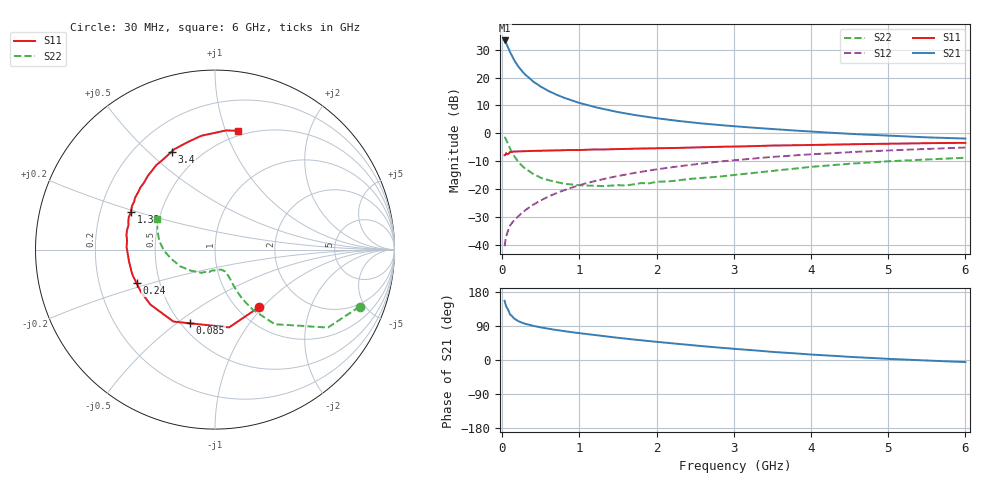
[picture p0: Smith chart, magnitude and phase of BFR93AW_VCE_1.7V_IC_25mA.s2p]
! Infineon Technologies  Discrete & RF Semiconductors
! BFR93AW
! VCE =  1.7 V,  IC =  25 mA
! Common Emitter S-Parameters:  Nov 2015
# GHz  S  MA  R  50
!  f  S11  S21  S12  S22
! GHz  MAG  ANG  MAG  ANG  MAG  ANG  MAG  ANG
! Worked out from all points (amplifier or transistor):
!   206 points, 30 MHz to 6 GHz, reference 50 ohm
!   highest |S21| = 33.4 dB at 30 MHz (marker M1)
!   |S21| within 3 dB of that: start of sweep to 81.87 MHz
!   unconditionally stable (mu >= 1): 460.2 MHz to 2.407 GHz
!   at 200 MHz: K = 0.79, MSG = 27.1 dB, |S12| = -30.0 dB
!   at 1.56 GHz: K = 1.05, MAG = 9.8 dB, |S12| = -15.0 dB
!   at 6 GHz: K = 0.95, MSG = 1.6 dB, |S12| = -5.1 dB
!   S11 on the Smith chart (normalised r, x): 30 MHz: 1.25, -0.95; 85 MHz: 0.55, -0.56; 240 MHz: 0.37, -0.18; 1.32 GHz: 0.33, +0.19; 3.4 GHz: 0.35, +0.59; 6 GHz: 0.46, +1.11
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0.03  0.4037 -52.4  46.59 156.1  0.0094 73.3  0.8667 -21.5
0.05  0.4406 -79.7  41.7 141.1  0.0142 67.7  0.7648 -34.6
0.085  0.4334 -108.6  32.21 128.3  0.0196 60.3  0.5964 -44.9
0.1  0.463 -120.0  28.86 120.5  0.022 58.2  0.5329 -51.3
0.15  0.4727 -139.6  20.98 109.8  0.027 59.4  0.3956 -57.8
0.2  0.4753 -150.4  16.37 103.3  0.0316 60.8  0.3167 -60.9
0.24  0.4757 -156.8  13.92 99.8  0.0355 62.9  0.274 -62.0
0.26  0.4773 -159.5  12.89 98.1  0.0376 63.7  0.2569 -62.4
0.3  0.4813 -163.7  11.23 95.2  0.0418 65.3  0.2309 -62.6
0.4  0.4834 -171.9  8.506 90.0  0.0521 67.4  0.186 -62.5
0.5  0.4868 -177.7  6.867 85.8  0.0624 68.8  0.1587 -63.3
0.6  0.4927 178.3  5.751 82.3  0.0733 69.7  0.1438 -63.8
0.7  0.4925 174.1  4.962 79.1  0.0842 70.3  0.1338 -65.3
0.88  0.5015 168.1  3.984 74.0  0.1039 70.2  0.1215 -69.9
1.04  0.504 163.2  3.394 69.7  0.1217 69.5  0.1162 -75.1
1.32  0.513 156.1  2.716 62.8  0.1518 67.8  0.1132 -84.3
2.02  0.5406 140.1  1.851 47.4  0.2273 62.0  0.1348 -110.9
3.1  0.5817 119.0  1.309 28.0  0.3381 50.9  0.1842 -142.1
3.4  0.5972 113.8  1.221 23.2  0.3673 47.7  0.2049 -151.0
4.1  0.622 102.4  1.055 13.3  0.4278 39.8  0.256 -170.6
5.1  0.6524 89.3  0.896 2.2  0.4998 28.8  0.3189 169.0
6  0.6743 79.0  0.805 -5.5  0.5557 19.7  0.3647 151.8
